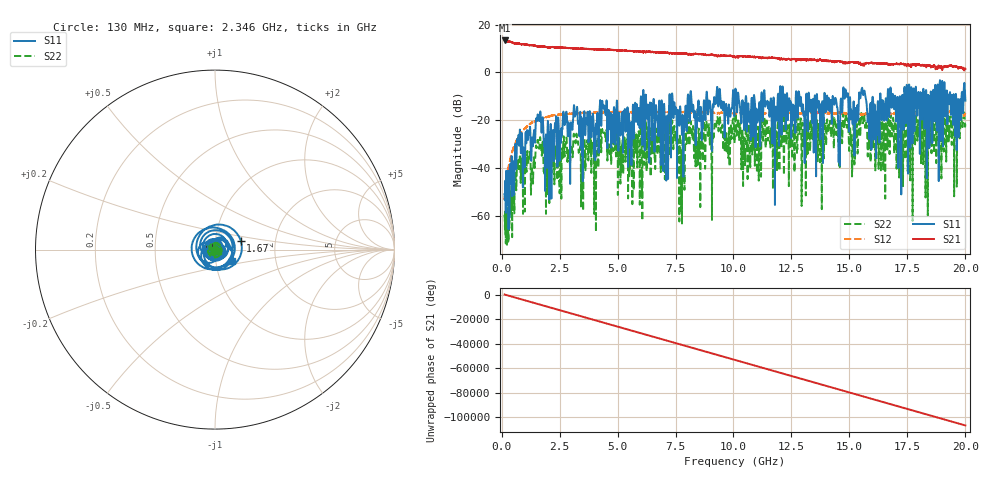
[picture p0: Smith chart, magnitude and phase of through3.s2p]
!Created with skrf (http://scikit-rf.org).
# GHz S RI R 50.0
!freq ReS11 ImS11 ReS21 ImS21 ReS12 ImS12 ReS22 ImS22
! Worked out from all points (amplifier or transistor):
!   20013 points, 130 MHz to 20 GHz, reference 50 ohm
!   highest |S21| = 13.4 dB at 130 MHz (marker M1)
!   |S21| within 3 dB of that: start of sweep to 2.327 GHz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
!   unconditionally stable (mu >= 1): start of sweep to end of sweep
!   at 3.465 GHz: K = 1.34, MAG = 10.0 dB, |S12| = -17.0 dB
!   at 10.14 GHz: K = 1.73, MAG = 6.9 dB, |S12| = -17.1 dB
!   at 20 GHz: K = 3.04, MAG = 1.8 dB, |S12| = -17.5 dB
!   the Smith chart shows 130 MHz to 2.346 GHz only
!   S11 on the Smith chart (normalised r, x): 130 MHz: 1.01, +0.00; 1.67 GHz: 1.33, +0.14; 2.346 GHz: 1.20, -0.15
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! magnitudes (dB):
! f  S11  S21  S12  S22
! 130 MHz  -50.9  13.4  -52.9  -60.0
! 657 MHz  -30.7  12.2  -28.2  -40.6
! 1.67 GHz  -16.4  10.9  -19.6  -27.6
! 1.886 GHz  -34.8  10.8  -18.9  -33.5
! 2.346 GHz  -18.9  10.4  -17.8  -33.6
! 3.193 GHz  -17.1  10.0  -17.2  -29.6
! 3.442 GHz  -18.9  10.0  -17.0  -35.6
! 3.754 GHz  -28.7  9.8  -16.9  -31.5
! 4.091 GHz  -25.1  9.7  -16.7  -34.4
! 4.333 GHz  -12.3  9.5  -16.9  -24.0
! 5.546 GHz  -25.4  9.0  -16.7  -32.2
! 6.754 GHz  -23.1  8.4  -16.6  -31.2
! 7.12 GHz  -22.9  8.3  -16.7  -35.3
! 7.429 GHz  -14.7  8.0  -16.8  -24.6
! 7.811 GHz  -18.2  7.8  -16.7  -28.4
! 8.104 GHz  -20.4  7.8  -16.8  -29.5
! 8.498 GHz  -12.2  7.6  -16.8  -23.5
! 10.06 GHz  -8.7  6.6  -17.3  -20.8
! 10.41 GHz  -15.2  6.7  -16.8  -47.6
! 13.38 GHz  -19.8  5.3  -16.6  -24.0
! 16.69 GHz  -10.0  3.3  -17.3  -19.1
! 20 GHz  -11.8  1.5  -17.5  -20.4
